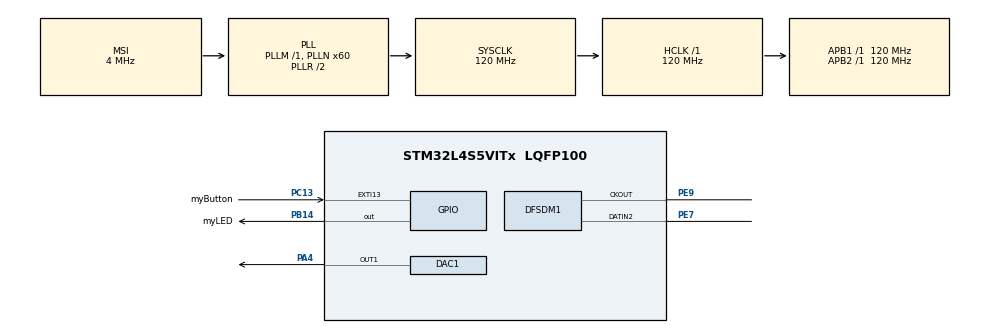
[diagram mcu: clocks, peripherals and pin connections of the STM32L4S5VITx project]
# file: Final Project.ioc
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DAC1.DAC_SampleAndHold-DAC_OUT1=DAC_SAMPLEANDHOLD_DISABLE
DAC1.DAC_Trigger-DAC_OUT1=DAC_TRIGGER_T2_TRGO
DFSDM1.Divider=33
DFSDM1.DmaMode_reg_FIL0=ENABLE
DFSDM1.FastMode_reg_FIL0=ENABLE
DFSDM1.Filter_regChannel_FIL0=DFSDM_CHANNEL_2
DFSDM1.Fosr_FIL0=162
DFSDM1.SincOrder_FIL0=DFSDM_FILTER_SINC3_ORDER
Dma.DAC1_CH1.0.Direction=DMA_MEMORY_TO_PERIPH
Dma.DAC1_CH1.0.EventEnable=DISABLE
Dma.DAC1_CH1.0.Instance=DMA1_Channel1
Dma.DAC1_CH1.0.MemDataAlignment=DMA_MDATAALIGN_WORD
Dma.DAC1_CH1.0.MemInc=DMA_MINC_ENABLE
Dma.DAC1_CH1.0.Mode=DMA_NORMAL
Dma.DAC1_CH1.0.PeriphDataAlignment=DMA_PDATAALIGN_WORD
Dma.DAC1_CH1.0.PeriphInc=DMA_PINC_DISABLE
Dma.DAC1_CH1.0.Polarity=HAL_DMAMUX_REQUEST_GEN_RISING
Dma.DAC1_CH1.0.Priority=DMA_PRIORITY_LOW
Dma.DAC1_CH1.0.RequestNumber=1
Dma.DAC1_CH1.0.SignalID=NONE
Dma.DAC1_CH1.0.SyncEnable=DISABLE
Dma.DAC1_CH1.0.SyncPolarity=HAL_DMAMUX_SYNC_NO_EVENT
Dma.DAC1_CH1.0.SyncRequestNumber=1
Dma.DAC1_CH1.0.SyncSignalID=NONE
Dma.DFSDM1_FLT0.1.Direction=DMA_PERIPH_TO_MEMORY
Dma.DFSDM1_FLT0.1.EventEnable=DISABLE
Dma.DFSDM1_FLT0.1.Instance=DMA1_Channel2
Dma.DFSDM1_FLT0.1.MemDataAlignment=DMA_MDATAALIGN_WORD
Dma.DFSDM1_FLT0.1.MemInc=DMA_MINC_ENABLE
Dma.DFSDM1_FLT0.1.Mode=DMA_NORMAL
Dma.DFSDM1_FLT0.1.PeriphDataAlignment=DMA_PDATAALIGN_WORD
Dma.DFSDM1_FLT0.1.PeriphInc=DMA_PINC_DISABLE
Dma.DFSDM1_FLT0.1.Polarity=HAL_DMAMUX_REQUEST_GEN_RISING
Dma.DFSDM1_FLT0.1.Priority=DMA_PRIORITY_LOW
Dma.DFSDM1_FLT0.1.RequestNumber=1
Dma.DFSDM1_FLT0.1.SignalID=NONE
Dma.DFSDM1_FLT0.1.SyncEnable=DISABLE
Dma.DFSDM1_FLT0.1.SyncPolarity=HAL_DMAMUX_SYNC_NO_EVENT
Dma.DFSDM1_FLT0.1.SyncRequestNumber=1
Dma.DFSDM1_FLT0.1.SyncSignalID=NONE
Dma.Request0=DAC1_CH1
Dma.Request1=DFSDM1_FLT0
Mcu.Family=STM32L4
Mcu.Name=STM32L4S5VITx
Mcu.Package=LQFP100
NVIC.DMA1_Channel1_IRQn=true\:0\:0\:false\:false\:true\:false\:true\:true
NVIC.DMA1_Channel2_IRQn=true\:0\:0\:false\:false\:true\:false\:true\:true
NVIC.EXTI15_10_IRQn=true\:0\:0\:false\:false\:true\:true\:true\:true
NVIC.PriorityGroup=NVIC_PRIORITYGROUP_4
NVIC.TIM2_IRQn=true\:0\:0\:false\:false\:true\:true\:true\:true
PA4.Signal=COMP_DAC11_group
PB14.GPIO_Label=myLED
PB14.Signal=GPIO_Output
PC13.GPIO_Label=myButton
PC13.Signal=GPXTI13
PE7.Signal=S_DATAIN2DFSDM1
PE9.Signal=S_CKOUTDFSDM1
ProjectManager.HeapSize=0x200
ProjectManager.StackSize=0x400
ProjectManager.TargetToolchain=STM32CubeIDE
RCC.ADCFreq_Value=48000000
RCC.AHBFreq_Value=120000000
RCC.APB1Freq_Value=120000000
RCC.APB1TimFreq_Value=120000000
RCC.APB2Freq_Value=120000000
RCC.APB2TimFreq_Value=120000000
RCC.CortexFreq_Value=120000000
RCC.HCLKFreq_Value=120000000
RCC.HSE_VALUE=8000000
RCC.HSI48_VALUE=48000000
RCC.HSI_VALUE=16000000
RCC.LSE_VALUE=32768
RCC.MSI_VALUE=4000000
RCC.PLLN=60
RCC.PLLSAI1N=24
RCC.SYSCLKFreq_VALUE=120000000
RCC.SYSCLKSource=RCC_SYSCLKSOURCE_PLLCLK
RCC.USBFreq_Value=48000000
RCC.VCOOutputFreq_Value=240000000
SH.COMP_DAC11_group.0=DAC1_OUT1,DAC_OUT1
SH.S_CKOUTDFSDM1.0=DFSDM1_CKOUT,CKOUT
SH.S_CKOUTDFSDM1.1=DFSDM1_CKOUT,PDM_SPI_input_from_ch2_and_internal_clock
SH.S_DATAIN2DFSDM1.0=DFSDM1_DATIN2,PDM_SPI_input_from_ch2_and_internal_clock
TIM2.Period=5333
TIM2.TIM_MasterOutputTrigger=TIM_TRGO_UPDATE
TIM3.Period=200
TIM3.Prescaler=20000
VP_TIM2_VS_ClockSourceINT.Mode=Internal
VP_TIM3_VS_ClockSourceINT.Mode=Internal
board=B-L4S5I-IOT01A

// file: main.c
/* USER CODE BEGIN Header */
/**
 ******************************************************************************
 * @file           : main.c
 * @brief          : Main program body
 ******************************************************************************
 * @attention
 *
 * Copyright (c) 2023 STMicroelectronics.
 * All rights reserved.
 *
 * This software is licensed under terms that can be found in the LICENSE file
 * in the root directory of this software component.
 * If no LICENSE file comes with this software, it is provided AS-IS.
 *
 ******************************************************************************
 */
/* USER CODE END Header */
#include "main.h"

/* USER CODE BEGIN Includes */
#define ARM_MATH_CM4
#define WAVE_LENGTH 100000
#define BEEP_LENGTH 10000
#define CUTOFF_dB 30
#include "arm_math.h"
/* USER CODE END Includes */

DAC_HandleTypeDef hdac1;
DMA_HandleTypeDef hdma_dac1_ch1;

DFSDM_Filter_HandleTypeDef hdfsdm1_filter0;
DFSDM_Channel_HandleTypeDef hdfsdm1_channel2;
DMA_HandleTypeDef hdma_dfsdm1_flt0;

TIM_HandleTypeDef htim2;
TIM_HandleTypeDef htim3;

/* USER CODE BEGIN PV */
static int32_t wave_value[WAVE_LENGTH];
static uint32_t beep_value[BEEP_LENGTH];
// 0 = record, 1 = done record, 2 = beeps then playback
static uint8_t mode = 0;
/* USER CODE END PV */

void SystemClock_Config(void);
static void MX_GPIO_Init(void);
static void MX_DMA_Init(void);
static void MX_DAC1_Init(void);
static void MX_TIM2_Init(void);
static void MX_DFSDM1_Init(void);
static void MX_TIM3_Init(void);

/* USER CODE BEGIN 0 */

int32_t processMicData(int32_t data) {
	/**
	 * EMPTY FOR NOW
	 * For final product will calibrate mic to known dB source. Following that will input necessary calculations to display accurate dB levels
	 *
	 * NOTES: Change int32 to int8
	 */
	return data;
}

/* USER CODE END 0 */

int main(void)
{

	/* MCU Configuration--------------------------------------------------------*/

	/* Reset of all peripherals, Initializes the Flash interface and the Systick. */
	HAL_Init();

	/* Configure the system clock */
	SystemClock_Config();

	/* Initialize all configured peripherals */
	MX_GPIO_Init();
	MX_DMA_Init();
	MX_DAC1_Init();
	MX_TIM2_Init();
	MX_DFSDM1_Init();
	MX_TIM3_Init();
	/* USER CODE BEGIN 2 */

	int32_t micValue;

	float humidity;
	float pressure;
	float temp=0;

	uint32_t TS_DATA;
	uint32_t vRef_Prac;

	const int TS_CAL1_TEMP = 30;
	const int TS_CAL2_TEMP = 110;

	//Retrieve reference values from memory
	const int32_t TS_CAL1 = (int32_t) *((uint16_t*) (0x1FFF75A8));
	const int32_t TS_CAL2 = (int32_t) *((uint16_t*) (0x1FFF75CA));
	const int32_t vRef = (int32_t) *((uint16_t*) (0x1FFF75AA));

	for(int i = 0; i < WAVE_LENGTH;i++){
		wave_value[i]=0;
	}

	/* USER CODE END 2 */

	/* Infinite loop */
	while (1)
	{
		if (HAL_DFSDM_FilterPollForRegConversion(&hdfsdm1_filter0, HAL_MAX_DELAY) == HAL_OK) {

			micValue = HAL_DFSDM_FilterGetRegularValue(&hdfsdm1_filter0, &micValue);
			micValue = processMicData(micValue);

			if (micValue > CUTOFF_dB){

				HAL_GPIO_WritePin(myLED_GPIO_Port,myLED_Pin,GPIO_PIN_SET);
				HAL_Delay(100);

			}else HAL_GPIO_WritePin(myLED_GPIO_Port,myLED_Pin,GPIO_PIN_RESET);
		}

//		humidity = BSP_HSENSOR_ReadHumidity();
//		pressure = BSP_PSENSOR_ReadPressure();
//
//		HAL_ADC_Start(&hadc1);
//		HAL_ADC_PollForConversion(&hadc1, 2000);
//		vRef_Prac = HAL_ADC_GetValue(&hadc1);
//		HAL_ADC_Stop(&hadc1);
//
//		HAL_ADC_Start(&hadc3);
//		HAL_ADC_PollForConversion(&hadc3, 2000);
//		TS_DATA = HAL_ADC_GetValue(&hadc3);
//		HAL_ADC_Stop(&hadc3);
//
//		temp = (((float) (TS_CAL2_TEMP - TS_CAL1_TEMP)) / ((float) (TS_CAL2 - TS_CAL1)))  * (TS_DATA*((float) vRef / (float) vRef_Prac) - TS_CAL1) + 30;	//Formula found in ref manual

	}
}

void SystemClock_Config(void)
{
	RCC_OscInitTypeDef RCC_OscInitStruct = {0};
	RCC_ClkInitTypeDef RCC_ClkInitStruct = {0};

	/** Configure the main internal regulator output voltage
	 */
	if (HAL_PWREx_ControlVoltageScaling(PWR_REGULATOR_VOLTAGE_SCALE1_BOOST) != HAL_OK)
	{
		Error_Handler();
	}

	/** Initializes the RCC Oscillators according to the specified parameters
	 * in the RCC_OscInitTypeDef structure.
	 */
	RCC_OscInitStruct.OscillatorType = RCC_OSCILLATORTYPE_MSI;
	RCC_OscInitStruct.MSIState = RCC_MSI_ON;
	RCC_OscInitStruct.MSICalibrationValue = 0;
	RCC_OscInitStruct.MSIClockRange = RCC_MSIRANGE_6;
	RCC_OscInitStruct.PLL.PLLState = RCC_PLL_ON;
	RCC_OscInitStruct.PLL.PLLSource = RCC_PLLSOURCE_MSI;
	RCC_OscInitStruct.PLL.PLLM = 1;
	RCC_OscInitStruct.PLL.PLLN = 60;
	RCC_OscInitStruct.PLL.PLLP = RCC_PLLP_DIV2;
	RCC_OscInitStruct.PLL.PLLQ = RCC_PLLQ_DIV2;
	RCC_OscInitStruct.PLL.PLLR = RCC_PLLR_DIV2;
	if (HAL_RCC_OscConfig(&RCC_OscInitStruct) != HAL_OK)
	{
		Error_Handler();
	}

	/** Initializes the CPU, AHB and APB buses clocks
	 */
	RCC_ClkInitStruct.ClockType = RCC_CLOCKTYPE_HCLK|RCC_CLOCKTYPE_SYSCLK
			|RCC_CLOCKTYPE_PCLK1|RCC_CLOCKTYPE_PCLK2;
	RCC_ClkInitStruct.SYSCLKSource = RCC_SYSCLKSOURCE_PLLCLK;
	RCC_ClkInitStruct.AHBCLKDivider = RCC_SYSCLK_DIV1;
	RCC_ClkInitStruct.APB1CLKDivider = RCC_HCLK_DIV1;
	RCC_ClkInitStruct.APB2CLKDivider = RCC_HCLK_DIV1;

	if (HAL_RCC_ClockConfig(&RCC_ClkInitStruct, FLASH_LATENCY_5) != HAL_OK)
	{
		Error_Handler();
	}
}

static void MX_DAC1_Init(void)
{

	DAC_ChannelConfTypeDef sConfig = {0};

	/** DAC Initialization
	 */
	hdac1.Instance = DAC1;
	if (HAL_DAC_Init(&hdac1) != HAL_OK)
	{
		Error_Handler();
	}

	/** DAC channel OUT1 config
	 */
	sConfig.DAC_SampleAndHold = DAC_SAMPLEANDHOLD_DISABLE;
	sConfig.DAC_Trigger = DAC_TRIGGER_T2_TRGO;
	sConfig.DAC_HighFrequency = DAC_HIGH_FREQUENCY_INTERFACE_MODE_ABOVE_80MHZ;
	sConfig.DAC_OutputBuffer = DAC_OUTPUTBUFFER_ENABLE;
	sConfig.DAC_ConnectOnChipPeripheral = DAC_CHIPCONNECT_DISABLE;
	sConfig.DAC_UserTrimming = DAC_TRIMMING_FACTORY;
	if (HAL_DAC_ConfigChannel(&hdac1, &sConfig, DAC_CHANNEL_1) != HAL_OK)
	{
		Error_Handler();
	}

}

static void MX_DFSDM1_Init(void)
{

	hdfsdm1_filter0.Instance = DFSDM1_Filter0;
	hdfsdm1_filter0.Init.RegularParam.Trigger = DFSDM_FILTER_SW_TRIGGER;
	hdfsdm1_filter0.Init.RegularParam.FastMode = ENABLE;
	hdfsdm1_filter0.Init.RegularParam.DmaMode = ENABLE;
	hdfsdm1_filter0.Init.FilterParam.SincOrder = DFSDM_FILTER_SINC3_ORDER;
	hdfsdm1_filter0.Init.FilterParam.Oversampling = 162;
	hdfsdm1_filter0.Init.FilterParam.IntOversampling = 1;
	if (HAL_DFSDM_FilterInit(&hdfsdm1_filter0) != HAL_OK)
	{
		Error_Handler();
	}
	hdfsdm1_channel2.Instance = DFSDM1_Channel2;
	hdfsdm1_channel2.Init.OutputClock.Activation = ENABLE;
	hdfsdm1_channel2.Init.OutputClock.Selection = DFSDM_CHANNEL_OUTPUT_CLOCK_SYSTEM;
	hdfsdm1_channel2.Init.OutputClock.Divider = 33;
	hdfsdm1_channel2.Init.Input.Multiplexer = DFSDM_CHANNEL_EXTERNAL_INPUTS;
	hdfsdm1_channel2.Init.Input.DataPacking = DFSDM_CHANNEL_STANDARD_MODE;
	hdfsdm1_channel2.Init.Input.Pins = DFSDM_CHANNEL_SAME_CHANNEL_PINS;
	hdfsdm1_channel2.Init.SerialInterface.Type = DFSDM_CHANNEL_SPI_RISING;
	hdfsdm1_channel2.Init.SerialInterface.SpiClock = DFSDM_CHANNEL_SPI_CLOCK_INTERNAL;
	hdfsdm1_channel2.Init.Awd.FilterOrder = DFSDM_CHANNEL_FASTSINC_ORDER;
	hdfsdm1_channel2.Init.Awd.Oversampling = 1;
	hdfsdm1_channel2.Init.Offset = 0;
	hdfsdm1_channel2.Init.RightBitShift = 0x00;
	if (HAL_DFSDM_ChannelInit(&hdfsdm1_channel2) != HAL_OK)
	{
		Error_Handler();
	}
	if (HAL_DFSDM_FilterConfigRegChannel(&hdfsdm1_filter0, DFSDM_CHANNEL_2, DFSDM_CONTINUOUS_CONV_ON) != HAL_OK)
	{
		Error_Handler();
	}

}

static void MX_TIM2_Init(void)
{

	TIM_ClockConfigTypeDef sClockSourceConfig = {0};
	TIM_MasterConfigTypeDef sMasterConfig = {0};

	htim2.Instance = TIM2;
	htim2.Init.Prescaler = 0;
	htim2.Init.CounterMode = TIM_COUNTERMODE_UP;
	htim2.Init.Period = 5333;
	htim2.Init.ClockDivision = TIM_CLOCKDIVISION_DIV1;
	htim2.Init.AutoReloadPreload = TIM_AUTORELOAD_PRELOAD_DISABLE;
	if (HAL_TIM_Base_Init(&htim2) != HAL_OK)
	{
		Error_Handler();
	}
	sClockSourceConfig.ClockSource = TIM_CLOCKSOURCE_INTERNAL;
	if (HAL_TIM_ConfigClockSource(&htim2, &sClockSourceConfig) != HAL_OK)
	{
		Error_Handler();
	}
	sMasterConfig.MasterOutputTrigger = TIM_TRGO_UPDATE;
	sMasterConfig.MasterSlaveMode = TIM_MASTERSLAVEMODE_DISABLE;
	if (HAL_TIMEx_MasterConfigSynchronization(&htim2, &sMasterConfig) != HAL_OK)
	{
		Error_Handler();
	}
	/* USER CODE BEGIN TIM2_Init 2 */
	HAL_TIM_Base_Start_IT(&htim2);
	/* USER CODE END TIM2_Init 2 */

}

static void MX_TIM3_Init(void)
{

	TIM_ClockConfigTypeDef sClockSourceConfig = {0};
	TIM_MasterConfigTypeDef sMasterConfig = {0};

	htim3.Instance = TIM3;
	htim3.Init.Prescaler = 20000;
	htim3.Init.CounterMode = TIM_COUNTERMODE_UP;
	htim3.Init.Period = 200;
	htim3.Init.ClockDivision = TIM_CLOCKDIVISION_DIV1;
	htim3.Init.AutoReloadPreload = TIM_AUTORELOAD_PRELOAD_DISABLE;
	if (HAL_TIM_Base_Init(&htim3) != HAL_OK)
	{
		Error_Handler();
	}
	sClockSourceConfig.ClockSource = TIM_CLOCKSOURCE_INTERNAL;
	if (HAL_TIM_ConfigClockSource(&htim3, &sClockSourceConfig) != HAL_OK)
	{
		Error_Handler();
	}
	sMasterConfig.MasterOutputTrigger = TIM_TRGO_RESET;
	sMasterConfig.MasterSlaveMode = TIM_MASTERSLAVEMODE_DISABLE;
	if (HAL_TIMEx_MasterConfigSynchronization(&htim3, &sMasterConfig) != HAL_OK)
	{
		Error_Handler();
	}

}

static void MX_DMA_Init(void)
{

	/* DMA controller clock enable */
	__HAL_RCC_DMAMUX1_CLK_ENABLE();
	__HAL_RCC_DMA1_CLK_ENABLE();

	/* DMA interrupt init */
	/* DMA1_Channel1_IRQn interrupt configuration */
	HAL_NVIC_SetPriority(DMA1_Channel1_IRQn, 0, 0);
	HAL_NVIC_EnableIRQ(DMA1_Channel1_IRQn);
	/* DMA1_Channel2_IRQn interrupt configuration */
	HAL_NVIC_SetPriority(DMA1_Channel2_IRQn, 0, 0);
	HAL_NVIC_EnableIRQ(DMA1_Channel2_IRQn);

}

static void MX_GPIO_Init(void)
{
	GPIO_InitTypeDef GPIO_InitStruct = {0};

	/* GPIO Ports Clock Enable */
	__HAL_RCC_GPIOC_CLK_ENABLE();
	__HAL_RCC_GPIOA_CLK_ENABLE();
	__HAL_RCC_GPIOE_CLK_ENABLE();
	__HAL_RCC_GPIOB_CLK_ENABLE();

	/*Configure GPIO pin Output Level */
	HAL_GPIO_WritePin(myLED_GPIO_Port, myLED_Pin, GPIO_PIN_RESET);

	/*Configure GPIO pin : myButton_Pin */
	GPIO_InitStruct.Pin = myButton_Pin;
	GPIO_InitStruct.Mode = GPIO_MODE_IT_RISING;
	GPIO_InitStruct.Pull = GPIO_NOPULL;
	HAL_GPIO_Init(myButton_GPIO_Port, &GPIO_InitStruct);

	/*Configure GPIO pin : myLED_Pin */
	GPIO_InitStruct.Pin = myLED_Pin;
	GPIO_InitStruct.Mode = GPIO_MODE_OUTPUT_PP;
	GPIO_InitStruct.Pull = GPIO_NOPULL;
	GPIO_InitStruct.Speed = GPIO_SPEED_FREQ_LOW;
	HAL_GPIO_Init(myLED_GPIO_Port, &GPIO_InitStruct);

	/* EXTI interrupt init*/
	HAL_NVIC_SetPriority(EXTI15_10_IRQn, 0, 0);
	HAL_NVIC_EnableIRQ(EXTI15_10_IRQn);

}

void Error_Handler(void)
{
	__disable_irq();
	while (1)
	{
	}
}
